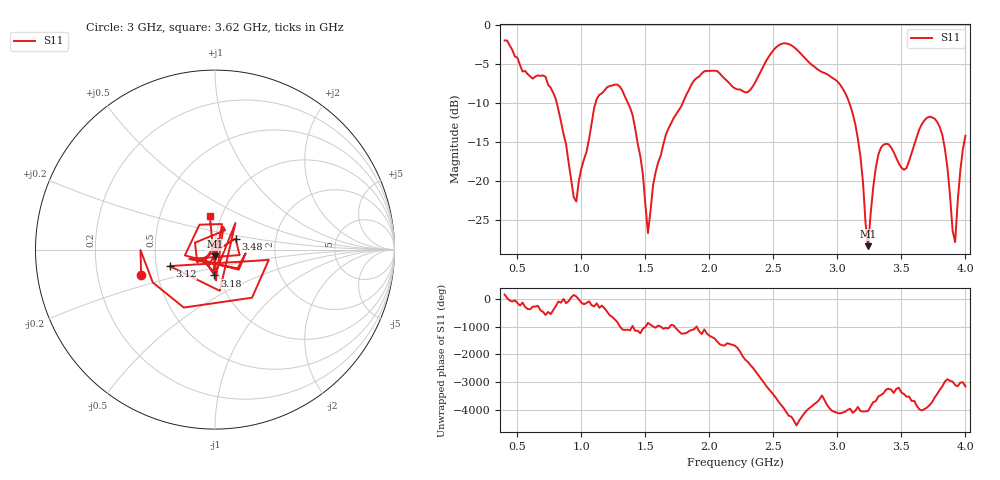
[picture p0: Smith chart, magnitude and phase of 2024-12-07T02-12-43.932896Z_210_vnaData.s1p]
!Created with skrf (http://scikit-rf.org).
# Hz S RI R 50.0
!freq ReS11 ImS11
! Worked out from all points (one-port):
!   181 points, 400 MHz to 4 GHz, reference 50 ohm
!   lowest |S11| = -28.3 dB at 3.24 GHz (marker M1), VSWR 1.08, Z = 49.7 - j3.82 ohm
!   |S11| at or under -10 dB: 807.2 MHz to 1.111 GHz (303.6 MHz wide, 31.7 % of centre); 1.363 GHz to 1.792 GHz (428.3 MHz wide, 27.2 % of centre); 3.093 GHz to end of sweep
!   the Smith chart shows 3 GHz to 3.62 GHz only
!   S11 on the Smith chart (normalised r, x): 3 GHz: 0.40, -0.14; 3.12 GHz: 0.59, -0.12; 3.18 GHz: 0.95, -0.28; 3.48 GHz: 1.25, +0.15; 3.62 GHz: 0.88, +0.35
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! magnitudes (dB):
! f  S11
! 400 MHz  -2.0
! 720 MHz  -6.7
! 860 MHz  -14.0
! 960 MHz  -22.6
! 1.12 GHz  -9.5
! 1.3 GHz  -7.9
! 1.42 GHz  -13.2
! 1.48 GHz  -19.1
! 1.52 GHz  -26.6
! 1.58 GHz  -18.8
! 1.76 GHz  -11.0
! 1.96 GHz  -6.0
! 2.2 GHz  -8.1
! 2.66 GHz  -2.9
! 3 GHz  -7.2
! 3.1 GHz  -10.3
! 3.12 GHz  -11.4
! 3.18 GHz  -16.8
! 3.24 GHz  -28.3
! 3.28 GHz  -20.8
! 3.34 GHz  -15.7
! 3.48 GHz  -17.7
! 3.56 GHz  -17.4
! 3.62 GHz  -14.4
! 3.8 GHz  -13.1
! 3.92 GHz  -27.8
! 3.96 GHz  -18.7
! 4 GHz  -14.2
